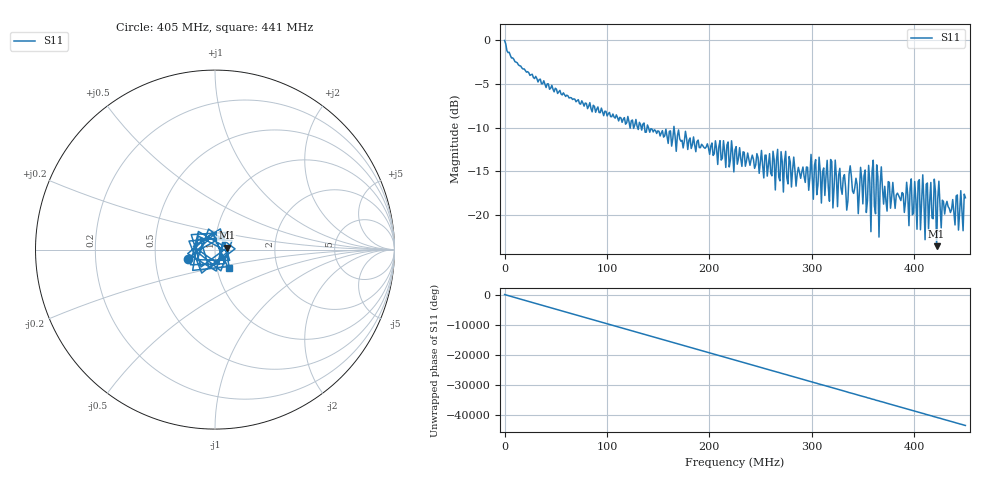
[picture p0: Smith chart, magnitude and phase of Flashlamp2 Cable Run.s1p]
! NanoVNA-App
! Date: 2026-10-06 14:34:23
! Start: 50kHz Stop: 450MHz Points: 401
! S-Parameter data: F S11
# Hz S RI R 50
!  Frequency  S11_Real  S11_Imag
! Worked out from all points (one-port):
!   401 points, 50 kHz to 450 MHz, reference 50 ohm
!   lowest |S11| = -23.6 dB at 421.9 MHz (marker M1), VSWR 1.14, Z = 57 + j1.14 ohm
!   |S11| at or under -10 dB: 136.7 MHz to 139.1 MHz (2.389 MHz wide, 1.73 % of centre); 140.5 MHz to 165.3 MHz (24.74 MHz wide, 16.2 % of centre); 165.6 MHz to end of sweep (the widest 3 of 7)
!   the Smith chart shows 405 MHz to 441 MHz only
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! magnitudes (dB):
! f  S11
! 50 kHz  0.0
! 56.29 MHz  -6.3
! 112.5 MHz  -8.8
! 168.8 MHz  -10.9
! 225 MHz  -12.5
! 281.3 MHz  -14.8
! 337.5 MHz  -14.4
! 347.6 MHz  -14.5
! 349.9 MHz  -18.7
! 355.5 MHz  -14.3
! 357.8 MHz  -21.9
! 360 MHz  -13.7
! 362.3 MHz  -19.9
! 363.4 MHz  -14.3
! 365.6 MHz  -22.5
! 393.8 MHz  -17.7
! 400.5 MHz  -16.2
! 406.1 MHz  -21.7
! 408.4 MHz  -15.4
! 414 MHz  -21.7
! 416.3 MHz  -16.3
! 418.5 MHz  -20.4
! 419.6 MHz  -15.9
! 421.9 MHz  -23.6
! 424.1 MHz  -16.1
! 443.3 MHz  -21.7
! 445.5 MHz  -17.2
! 450 MHz  -18.0
